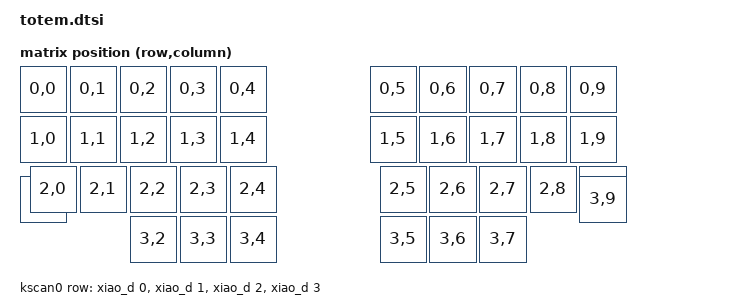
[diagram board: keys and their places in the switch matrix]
/*
 * Copyright (c) 2022 The ZMK Contributors
 *
 * SPDX-License-Identifier: MIT
 */

#include <dt-bindings/zmk/matrix_transform.h>
#include <physical_layouts.dtsi>

/ {
    chosen {
        zmk,kscan = &kscan0;
        zmk,physical-layout = &totem_layout;
    };

    default_transform: keymap_transform_0 {
        compatible = "zmk,matrix-transform";
        columns = <10>;
        rows = <4>;
        // | SW01 | SW02 | SW03 | SW04 | SW05 |   | SW05 | SW04 | SW03 | SW02 | SW01 |
        // | SW06 | SW07 | SW08 | SW09 | SW10 |   | SW10 | SW09 | SW08 | SW07 | SW06 |
        // | SW16 | SW11 | SW12 | SW13 | SW14 | SW15 |   | SW15 | SW14 | SW13 | SW12 | SW11 | SW16 |
        //               | SW17 | SW18 | SW19 |   | SW19 | SW18 | SW17 |
        map = <
            RC(0,0) RC(0,1) RC(0,2) RC(0,3) RC(0,4) RC(0,5) RC(0,6) RC(0,7) RC(0,8) RC(0,9)
            RC(1,0) RC(1,1) RC(1,2) RC(1,3) RC(1,4) RC(1,5) RC(1,6) RC(1,7) RC(1,8) RC(1,9)
            RC(3,0) RC(2,0) RC(2,1) RC(2,2) RC(2,3) RC(2,4) RC(2,5) RC(2,6) RC(2,7) RC(2,8) RC(2,9) RC(3,9)
                            RC(3,2) RC(3,3) RC(3,4) RC(3,5) RC(3,6) RC(3,7)
        >;
    };

    totem_layout: totem_layout {
        compatible = "zmk,physical-layout";
        display-name = "Totem";
        transform = <&default_transform>;
        kscan = <&kscan0>;

        // Totem 38-key layout with column stagger
        // Standard 1u keys positioned in column-staggered layout
        // Order matches matrix_transform map order (row by row)
        keys
            // Row 0 (top row) - 5 keys left, 5 keys right
            = <&key_physical_attrs 100 100    0   0 0 0 0>
            , <&key_physical_attrs 100 100  100   0 0 0 0>
            , <&key_physical_attrs 100 100  200   0 0 0 0>
            , <&key_physical_attrs 100 100  300   0 0 0 0>
            , <&key_physical_attrs 100 100  400   0 0 0 0>
            , <&key_physical_attrs 100 100  700   0 0 0 0>
            , <&key_physical_attrs 100 100  800   0 0 0 0>
            , <&key_physical_attrs 100 100  900   0 0 0 0>
            , <&key_physical_attrs 100 100 1000   0 0 0 0>
            , <&key_physical_attrs 100 100 1100   0 0 0 0>
            // Row 1 (home row) - 5 keys left, 5 keys right
            , <&key_physical_attrs 100 100    0 100 0 0 0>
            , <&key_physical_attrs 100 100  100 100 0 0 0>
            , <&key_physical_attrs 100 100  200 100 0 0 0>
            , <&key_physical_attrs 100 100  300 100 0 0 0>
            , <&key_physical_attrs 100 100  400 100 0 0 0>
            , <&key_physical_attrs 100 100  700 100 0 0 0>
            , <&key_physical_attrs 100 100  800 100 0 0 0>
            , <&key_physical_attrs 100 100  900 100 0 0 0>
            , <&key_physical_attrs 100 100 1000 100 0 0 0>
            , <&key_physical_attrs 100 100 1100 100 0 0 0>
            // Row 2 (bottom row) - outer pinky + 5 keys left, 5 keys + outer pinky right
            // Note: Outer pinky keys come first in map (RC(3,0) and last (RC(3,9))
            , <&key_physical_attrs 100 100    0 220 0 0 0>
            , <&key_physical_attrs 100 100   20 200 0 0 0>
            , <&key_physical_attrs 100 100  120 200 0 0 0>
            , <&key_physical_attrs 100 100  220 200 0 0 0>
            , <&key_physical_attrs 100 100  320 200 0 0 0>
            , <&key_physical_attrs 100 100  420 200 0 0 0>
            , <&key_physical_attrs 100 100  720 200 0 0 0>
            , <&key_physical_attrs 100 100  820 200 0 0 0>
            , <&key_physical_attrs 100 100  920 200 0 0 0>
            , <&key_physical_attrs 100 100 1020 200 0 0 0>
            , <&key_physical_attrs 100 100 1120 200 0 0 0>
            , <&key_physical_attrs 100 100 1120 220 0 0 0>
            // Thumb cluster - 3 keys left, 3 keys right
            , <&key_physical_attrs 100 100  220 300 0 0 0>
            , <&key_physical_attrs 100 100  320 300 0 0 0>
            , <&key_physical_attrs 100 100  420 300 0 0 0>
            , <&key_physical_attrs 100 100  720 300 0 0 0>
            , <&key_physical_attrs 100 100  820 300 0 0 0>
            , <&key_physical_attrs 100 100  920 300 0 0 0>
            ;
    };

    kscan0: kscan_0 {
        compatible = "zmk,kscan-gpio-matrix";
        wakeup-source;

        diode-direction = "col2row";
        row-gpios
            = <&xiao_d 0 (GPIO_ACTIVE_HIGH | GPIO_PULL_DOWN)>
            , <&xiao_d 1 (GPIO_ACTIVE_HIGH | GPIO_PULL_DOWN)>
            , <&xiao_d 2 (GPIO_ACTIVE_HIGH | GPIO_PULL_DOWN)>
            , <&xiao_d 3 (GPIO_ACTIVE_HIGH | GPIO_PULL_DOWN)>
            ;
    };
};
